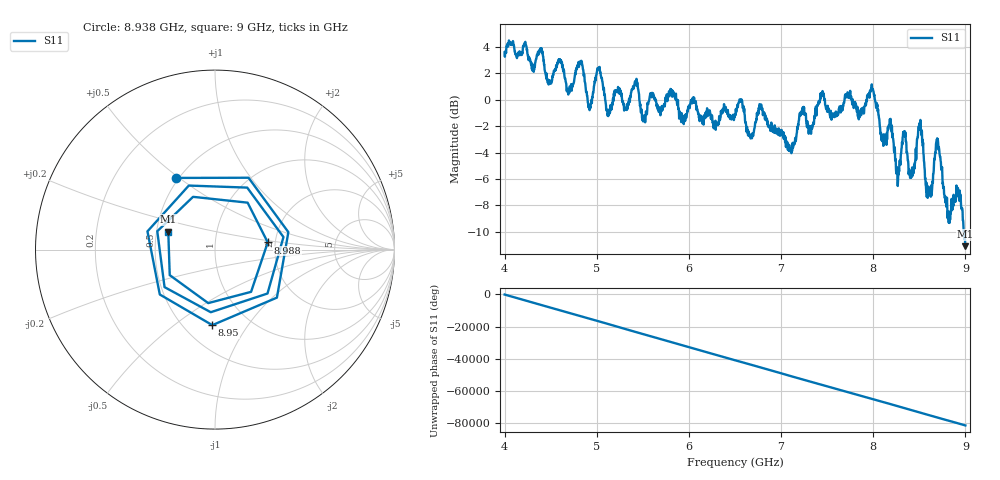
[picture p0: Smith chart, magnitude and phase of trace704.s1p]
! Created with skrf 1.8.0 (http://scikit-rf.org).
# Hz S RI R 50.0
!freq ReS11 ImS11
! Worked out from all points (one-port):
!   1601 points, 4 GHz to 9 GHz, reference 50 ohm
!   lowest |S11| = -11.1 dB at 9 GHz (marker M1), VSWR 1.77, Z = 28.8 + j6.29 ohm
!   |S11| at or under -10 dB: 8.9844 GHz to end of sweep
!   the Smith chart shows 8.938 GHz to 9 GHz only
!   S11 on the Smith chart (normalised r, x): 8.938 GHz: 0.49, +0.49; 8.95 GHz: 0.68, -0.70; 8.988 GHz: 1.82, +0.16; 9 GHz: 0.58, +0.13
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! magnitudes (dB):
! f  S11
! 4 GHz  3.6
! 4.625 GHz  2.5
! 4.697 GHz  0.8
! 4.825 GHz  2.9
! 4.922 GHz  -0.8
! 5.016 GHz  2.3
! 5.125 GHz  -1.2
! 5.25 GHz  0.6
! 5.875 GHz  -0.3
! 6.5 GHz  -1.1
! 7.125 GHz  -3.3
! 7.225 GHz  -0.8
! 7.75 GHz  0.7
! 7.988 GHz  0.8
! 8.1 GHz  -3.1
! 8.194 GHz  -1.9
! 8.262 GHz  -5.7
! 8.334 GHz  -2.4
! 8.375 GHz  -4.6
! 8.422 GHz  -5.1
! 8.509 GHz  -2.0
! 8.6 GHz  -6.7
! 8.697 GHz  -3.3
! 8.809 GHz  -8.5
! 8.938 GHz  -6.9
! 8.95 GHz  -7.5
! 8.988 GHz  -10.6
! 9 GHz  -11.1
